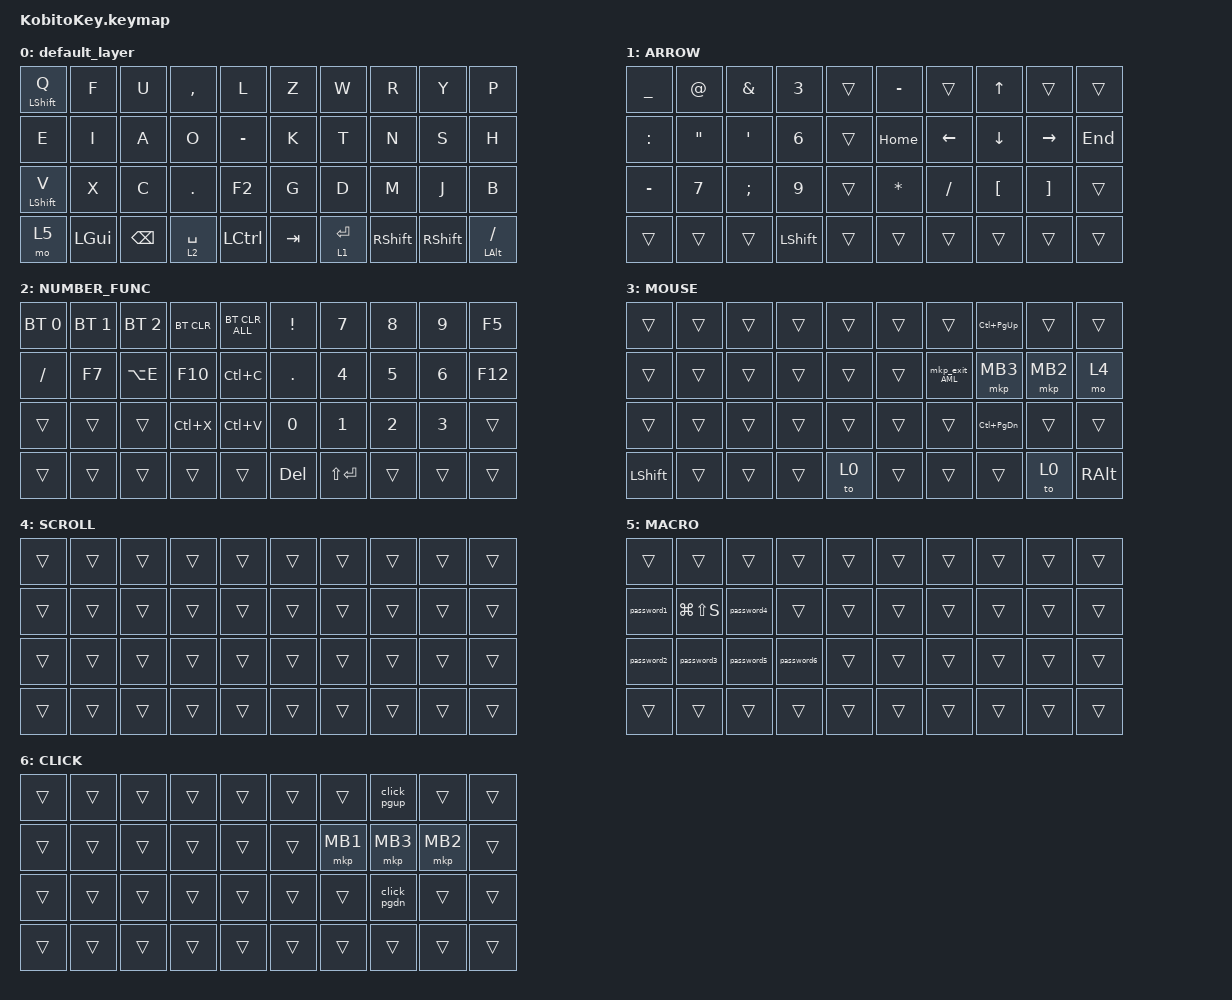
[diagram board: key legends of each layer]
#include <input/processors.dtsi>
#include <behaviors.dtsi>
#include <dt-bindings/zmk/bt.h>
#include <dt-bindings/zmk/keys.h>
#include <dt-bindings/zmk/pointing.h>

/* OS設定を日本語キーボードのまま使用するための変換定義 */

#define JP_DQUOTE       AT                // "
#define JP_AMPERSAND    CARET             // &
#define JP_QUOTE        AMPERSAND         // '
#define JP_EQUAL        UNDER             // =
#define JP_CARET        EQUAL             // ^
#define JP_YEN          0x89              // ¥
#define JP_PLUS         COLON             // +
#define JP_TILDE        PLUS              // ~
#define JP_PIPE         LS(0x89)          // |
#define JP_AT           LEFT_BRACKET      // @
#define JP_COLON        SINGLE_QUOTE      // :
#define JP_ASTERISK     DOUBLE_QUOTES     // *
#define JP_BACKQUOTE    LEFT_BRACE        // `
#define JP_UNDERSCORE   LS(0x87)          // _
#define JP_LBRACKET     RIGHT_BRACKET     // [
#define JP_RBRACKET     BACKSLASH         // ]
#define JP_LPAREN       ASTERISK          // (
#define JP_RPAREN       LEFT_PARENTHESIS  // )
#define JP_LBRACE       RIGHT_BRACE       // {
#define JP_RBRACE       PIPE              // }
#define JP_KANA         LANGUAGE_1        // かな
#define JP_EISU         LANGUAGE_2        // 英数
#define JP_HANZEN       GRAVE             // 半角/全角

/ {
    behaviors {
        /* Alt+Tab swapper: Shift併用で逆方向切り替え可能 */

        swapper: swapper {
            compatible = "zmk,behavior-tri-state";
            #binding-cells = <0>;
            bindings = <&kt LALT>, <&kp TAB>, <&kt LALT>;

            ignored-key-positions = <30 37 38>; /* LSHFT, RSHFT positions */
        };

        /* Ctrl+PageDown: 次のタブ（Shift併用で逆方向） */

        tab_next: tab_next {
            compatible = "zmk,behavior-tri-state";
            #binding-cells = <0>;
            bindings = <&kt LCTRL>, <&kp PAGE_DOWN>, <&kt LCTRL>;

            ignored-key-positions = <30 37 38>;
        };

        /* Ctrl+PageUp: 前のタブ（Shift併用で逆方向） */

        tab_prev: tab_prev {
            compatible = "zmk,behavior-tri-state";
            #binding-cells = <0>;
            bindings = <&kt LCTRL>, <&kp PAGE_UP>, <&kt LCTRL>;

            ignored-key-positions = <30 37 38>;
        };

        /* オートマウスレイヤーをOFFにするtoggle */

        tog_off: toggle_layer_off {
            compatible = "zmk,behavior-toggle-layer";
            #binding-cells = <1>;
            toggle-mode = "off";
        };
    };
};

/* クリック後の猶予時間: この間にダブルクリックや右クリックが可能 */

&sl { release-after-ms = <3000>; };

/ {
    macros {
        /* オートマウスレイヤー解除マクロ */

        exit_AML: exit_AML {
            compatible = "zmk,behavior-macro";
            wait-ms = <0>;
            tap-ms = <0>;
            #binding-cells = <0>;
            bindings = <&tog_off 3>;
        };

        /* CLICKレイヤー用: タブ切替 + CLICKレイヤー延長 */

        click_pgup: click_pgup {
            compatible = "zmk,behavior-macro";
            wait-ms = <0>;
            tap-ms = <0>;
            #binding-cells = <0>;
            bindings = <&kp LC(PAGE_UP) &sl 6>;
        };

        click_pgdn: click_pgdn {
            compatible = "zmk,behavior-macro";
            wait-ms = <0>;
            tap-ms = <0>;
            #binding-cells = <0>;
            bindings = <&kp LC(PAGE_DOWN) &sl 6>;
        };

        /* 左クリック + オートマウスレイヤー解除 + CLICKレイヤー猶予 */

        mkp_exit_AML: mkp_exit_AML {
            compatible = "zmk,behavior-macro";
            wait-ms = <0>;
            tap-ms = <0>;
            #binding-cells = <0>;
            bindings =
                <&macro_press>,
                <&mkp MB1>,
                <&macro_pause_for_release>,
                <&macro_release>,
                <&mkp MB1>,
                <&macro_tap>,
                <&to 0 &sl 6>;
        };

        kakko: kakko {
            compatible = "zmk,behavior-macro";
            #binding-cells = <0>;
            bindings = <&kp LANGUAGE_1 &kp LS(NUMBER_8) &kp LS(NUMBER_9) &kp ENTER &kp LEFT>;
            label = "KAKKO";
        };

        inyou: inyou {
            compatible = "zmk,behavior-macro";
            #binding-cells = <0>;
            bindings = <&kp LANGUAGE_2 &kp LS(PERIOD)>;
            label = "INYOU";
        };

        /* パスワードマクロ（非公開リポジトリでbindingsが置換される） */

        password1: password1 {
            compatible = "zmk,behavior-macro";
            #binding-cells = <0>;
            bindings = <&none>;
            label = "__PASSWORD1__";
        };

        password2: password2 {
            compatible = "zmk,behavior-macro";
            #binding-cells = <0>;
            bindings = <&none>;
            label = "__PASSWORD2__";
        };

        password3: password3 {
            compatible = "zmk,behavior-macro";
            #binding-cells = <0>;
            bindings = <&none>;
            label = "__PASSWORD3__";
        };

        password4: password4 {
            compatible = "zmk,behavior-macro";
            #binding-cells = <0>;
            bindings = <&none>;
            label = "__PASSWORD4__";
        };

        password5: password5 {
            compatible = "zmk,behavior-macro";
            #binding-cells = <0>;
            bindings = <&none>;
            label = "__PASSWORD5__";
        };

        password6: password6 {
            compatible = "zmk,behavior-macro";
            #binding-cells = <0>;
            bindings = <&none>;
            label = "__PASSWORD6__";
        };

        password7: password7 {
            compatible = "zmk,behavior-macro";
            #binding-cells = <0>;
            bindings = <&none>;
            label = "__PASSWORD7__";
        };

        password8: password8 {
            compatible = "zmk,behavior-macro";
            #binding-cells = <0>;
            bindings = <&none>;
            label = "__PASSWORD8__";
        };

        password9: password9 {
            compatible = "zmk,behavior-macro";
            #binding-cells = <0>;
            bindings = <&none>;
            label = "__PASSWORD9__";
        };
    };

    combos {
        compatible = "zmk,combos";

        combo_esc {
            timeout-ms = <50>;
            key-positions = <0 1>;
            bindings = <&kp ESC>;
        };

        comb_atmark {
            bindings = <&kp LBKT>;
            key-positions = <16 17>;
        };

        comb_question {
            bindings = <&kp QUESTION>;
            key-positions = <26 27>;
        };

        comb_nakaguro {
            bindings = <&kp SLASH>;
            key-positions = <6 7>;
        };

        comb_kakko {
            bindings = <&kakko>;
            key-positions = <2 3>;
        };

        comb_inyou {
            bindings = <&inyou>;
            key-positions = <12 13>;
        };

        comb_underbar {
            bindings = <&kp JP_UNDERSCORE>;
            key-positions = <23 24>;
        };

        comb_jpyen {
            bindings = <&kp JP_YEN>;
            key-positions = <8 9>;
        };

        comb_kana {
            bindings = <&kp LANGUAGE_1>;
            key-positions = <33 32>;
        };

        comb_alphabet {
            bindings = <&kp LANGUAGE_2>;
            key-positions = <34 33>;
        };
    };

    keymap {
        compatible = "zmk,keymap";

        default_layer {
            bindings = <
&mt LEFT_SHIFT Q  &kp F         &kp U          &kp COMMA    &kp L      &kp Z    &kp W        &kp R      &kp Y      &kp P
&kp E             &kp I         &kp A          &kp O        &kp MINUS  &kp K    &kp T        &kp N      &kp S      &kp H
&mt LEFT_SHIFT V  &kp X         &kp C          &kp PERIOD   &kp F2     &kp G    &kp D        &kp M      &kp J      &kp B
&mo 5             &kp LEFT_GUI  &kp BACKSPACE  &lt 2 SPACE  &kp LCTRL  &kp TAB  &lt 1 ENTER  &kp RSHFT  &kp RSHFT  &mt LALT SLASH
            >;
        };

        ARROW {
            label = "ARROW";
            bindings = <
&kp UNDER  &kp AT             &kp AMPERSAND     &kp N3     &trans  &kp MINUS  &trans     &kp UP    &trans     &trans
&kp COLON  &kp DOUBLE_QUOTES  &kp SINGLE_QUOTE  &kp N6     &trans  &kp HOME   &kp LEFT   &kp DOWN  &kp RIGHT  &kp END
&kp MINUS  &kp N7             &kp SEMICOLON     &kp N9     &trans  &kp ASTRK  &kp SLASH  &kp LBKT  &kp RBKT   &trans
&trans     &trans             &trans            &kp LSHFT  &trans  &trans     &trans     &trans    &trans     &trans
            >;
        };

        NUMBER_FUNC {
            label = "NUMBER_FUNC";
            bindings = <
&bt BT_SEL 0  &bt BT_SEL 1  &bt BT_SEL 2  &bt BT_CLR  &bt BT_CLR_ALL  &kp EXCLAMATION  &kp NUMBER_7   &kp NUMBER_8  &kp NUMBER_9  &kp F5
&kp SLASH     &kp F7        &kp LA(E)     &kp F10     &kp LC(C)       &kp PERIOD       &kp NUMBER_4   &kp NUMBER_5  &kp NUMBER_6  &kp F12
&trans        &trans        &trans        &kp LC(X)   &kp LC(V)       &kp NUMBER_0     &kp NUMBER_1   &kp NUMBER_2  &kp NUMBER_3  &trans
&trans        &trans        &trans        &trans      &trans          &kp DEL          &kp LS(ENTER)  &trans        &trans        &trans
            >;
        };

        MOUSE {
            label = "MOUSE";
            bindings = <
&trans     &trans  &trans  &trans  &trans  &trans  &trans         &kp LC(PAGE_UP)    &trans    &trans
&trans     &trans  &trans  &trans  &trans  &trans  &mkp_exit_AML  &mkp MB3           &mkp MB2  &mo 4
&trans     &trans  &trans  &trans  &trans  &trans  &trans         &kp LC(PAGE_DOWN)  &trans    &trans
&kp LSHFT  &trans  &trans  &trans  &to 0   &trans  &trans         &trans             &to 0     &kp RALT
            >;
        };

        SCROLL {
            label = "SCROLL";
            bindings = <
&trans  &trans  &trans  &trans  &trans  &trans  &trans  &trans  &trans  &trans
&trans  &trans  &trans  &trans  &trans  &trans  &trans  &trans  &trans  &trans
&trans  &trans  &trans  &trans  &trans  &trans  &trans  &trans  &trans  &trans
&trans  &trans  &trans  &trans  &trans  &trans  &trans  &trans  &trans  &trans
            >;
        };

        MACRO {
            bindings = <
&trans      &trans         &trans      &trans      &trans  &trans  &trans  &trans  &trans  &trans
&password1  &kp LG(LS(S))  &password4  &trans      &trans  &trans  &trans  &trans  &trans  &trans
&password2  &password3     &password5  &password6  &trans  &trans  &trans  &trans  &trans  &trans
&trans      &trans         &trans      &trans      &trans  &trans  &trans  &trans  &trans  &trans
            >;

            label = "MACRO";
        };

        CLICK {
            label = "CLICK";
            bindings = <
&trans  &trans  &trans  &trans  &trans  &trans  &trans    &click_pgup  &trans    &trans
&trans  &trans  &trans  &trans  &trans  &trans  &mkp MB1  &mkp MB3     &mkp MB2  &trans
&trans  &trans  &trans  &trans  &trans  &trans  &trans    &click_pgdn  &trans    &trans
&trans  &trans  &trans  &trans  &trans  &trans  &trans    &trans       &trans    &trans
            >;
        };
    };
};
